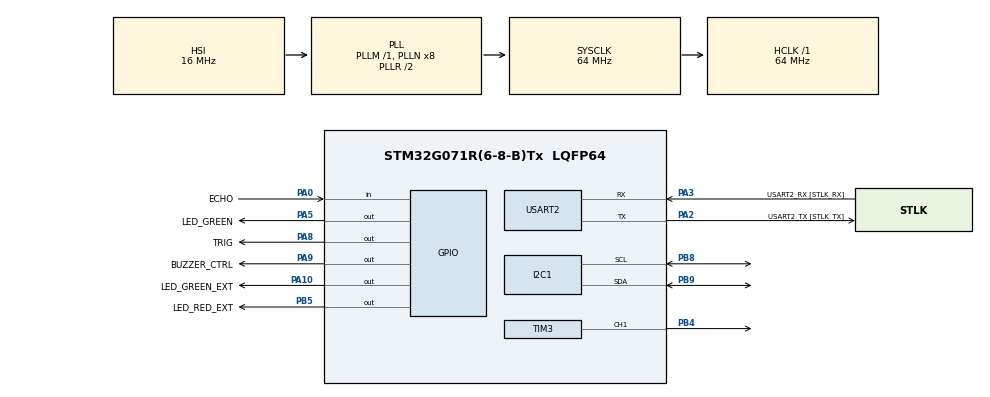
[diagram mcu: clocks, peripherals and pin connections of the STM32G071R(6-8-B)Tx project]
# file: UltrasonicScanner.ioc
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FREERTOS.INCLUDE_uxTaskGetStackHighWaterMark=1
FREERTOS.Queues01=ScanDataQueue,4,ScanMessage_t,0,Dynamic,NULL,NULL;AlertDataQueue,4,ScanMessage_t,0,Dynamic,NULL,NULL
FREERTOS.Tasks01=ScannerTask,24,256,StartScannerTask,Default,NULL,Dynamic,NULL,NULL;DisplayTask,16,256,StartDisplayTask,Default,NULL,Dynamic,NULL,NULL;AlertTask,16,256,StartAlertTask,Default,NULL,Dynamic,NULL,NULL
FREERTOS.configTOTAL_HEAP_SIZE=5120
I2C1.Timing=0x10B17DB5
Mcu.Family=STM32G0
Mcu.Name=STM32G071R(6-8-B)Tx
Mcu.Package=LQFP64
NVIC.TIM6_DAC_LPTIM1_IRQn=true\:3\:0\:false\:false\:true\:false\:false\:true\:true
NVIC.TimeBase=TIM6_DAC_LPTIM1_IRQn
NVIC.TimeBaseIP=TIM6
PA0.GPIO_Label=ECHO
PA0.Signal=GPIO_Input
PA10.GPIO_Label=LED_GREEN_EXT
PA10.Signal=GPIO_Output
PA13.GPIO_Label=TMS
PA13.Mode=Serial_Wire
PA13.Signal=SYS_SWDIO
PA14-BOOT0.GPIO_Label=TCK
PA14-BOOT0.Mode=Serial_Wire
PA14-BOOT0.Signal=SYS_SWCLK
PA2.GPIO_Label=USART2_TX [STLK_TX]
PA2.GPIO_PuPd=GPIO_PULLUP
PA2.Mode=Asynchronous
PA2.Signal=USART2_TX
PA3.GPIO_Label=USART2_RX [STLK_RX]
PA3.GPIO_PuPd=GPIO_PULLUP
PA3.Mode=Asynchronous
PA3.Signal=USART2_RX
PA5.GPIO_Label=LED_GREEN
PA5.GPIO_Speed=GPIO_SPEED_FREQ_HIGH
PA5.Signal=GPIO_Output
PA8.GPIO_Label=TRIG
PA8.Signal=GPIO_Output
PA9.GPIO_Label=BUZZER_CTRL
PA9.Signal=GPIO_Output
PB4.Signal=S_TIM3_CH1
PB5.GPIO_Label=LED_RED_EXT
PB5.Signal=GPIO_Output
PB8.Mode=I2C
PB8.Signal=I2C1_SCL
PB9.Mode=I2C
PB9.Signal=I2C1_SDA
ProjectManager.HeapSize=0x200
ProjectManager.StackSize=0x400
ProjectManager.TargetToolchain=STM32CubeIDE
RCC.ADCFreq_Value=64000000
RCC.AHBFreq_Value=64000000
RCC.CortexFreq_Value=64000000
RCC.EXTERNAL_CLOCK_VALUE=12288000
RCC.HCLKFreq_Value=64000000
RCC.HSE_VALUE=8000000
RCC.HSI_VALUE=16000000
RCC.LSE_VALUE=32768
RCC.SYSCLKFreq_VALUE=64000000
RCC.SYSCLKSource=RCC_SYSCLKSOURCE_PLLCLK
RCC.VCOOutputFreq_Value=128000000
SH.S_TIM3_CH1.0=TIM3_CH1,PWM Generation1 CH1
TIM2.Period=65535
TIM2.Prescaler=63
TIM3.Channel-PWM\ Generation1\ CH1=TIM_CHANNEL_1
TIM3.Period=19999
TIM3.Prescaler=63
USART2.VirtualMode-Asynchronous=VM_ASYNC
VP_FREERTOS_VS_CMSIS_V2.Mode=CMSIS_V2
VP_SYS_VS_tim6.Mode=TIM6
VP_TIM2_VS_ClockSourceINT.Mode=Internal
VP_TIM3_VS_ClockSourceINT.Mode=Internal
board=NUCLEO-G071RB

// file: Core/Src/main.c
/* USER CODE BEGIN Header */
/**
  ******************************************************************************
  * @file           : main.c
  * @brief          : Main program body
  ******************************************************************************
  * @attention
  *
  * Copyright (c) 2026 STMicroelectronics.
  * All rights reserved.
  *
  * This software is licensed under terms that can be found in the LICENSE file
  * in the root directory of this software component.
  * If no LICENSE file comes with this software, it is provided AS-IS.
  *
  ******************************************************************************
  */
/* USER CODE END Header */
#include "main.h"
#include "cmsis_os.h"

/* USER CODE BEGIN Includes */
#include <stdio.h>
#include "lcd_i2c.h"
/* USER CODE END Includes */

/* USER CODE BEGIN PTD */
typedef enum{
    SYSTEM_STATE_STARTUP = 0,
    SYSTEM_STATE_SCANNING,
    SYSTEM_STATE_DETECTED,
    SYSTEM_STATE_ERROR
} SystemState_t;

typedef struct{
	SystemState_t state;
    uint16_t angleDeg;
    uint16_t distanceCm;
    uint8_t measurementValid;
} ScanMessage_t;
/* USER CODE END PTD */

/* USER CODE BEGIN PD */
#define HC_SR04_TIMEOUT_US           30000U

#define OBJECT_DETECT_DISTANCE_CM    25U
#define OBJECT_RELEASE_DISTANCE_CM   30U

#define DETECT_CONFIRM_SAMPLES        2U
#define RELEASE_CONFIRM_SAMPLES       3U

#define BUZZER_TASK_PERIOD_TICKS      10U
#define BUZZER_ON_TIME_TICKS          60U

#define BUZZER_GAP_NEAR_TICKS        100U
#define BUZZER_GAP_MEDIUM_TICKS      300U
#define BUZZER_GAP_FAR_TICKS         700U

#define BUZZER_NEAR_DISTANCE_CM       10U
#define BUZZER_MEDIUM_DISTANCE_CM     17U
/* USER CODE END PD */

I2C_HandleTypeDef hi2c1;

TIM_HandleTypeDef htim2;
TIM_HandleTypeDef htim3;

UART_HandleTypeDef huart2;

/* Definitions for ScannerTask */
osThreadId_t ScannerTaskHandle;
const osThreadAttr_t ScannerTask_attributes = {
  .name = "ScannerTask",
  .priority = (osPriority_t) osPriorityNormal,
  .stack_size = 256 * 4
};
/* Definitions for DisplayTask */
osThreadId_t DisplayTaskHandle;
const osThreadAttr_t DisplayTask_attributes = {
  .name = "DisplayTask",
  .priority = (osPriority_t) osPriorityBelowNormal,
  .stack_size = 256 * 4
};
/* Definitions for AlertTask */
osThreadId_t AlertTaskHandle;
const osThreadAttr_t AlertTask_attributes = {
  .name = "AlertTask",
  .priority = (osPriority_t) osPriorityBelowNormal,
  .stack_size = 256 * 4
};
/* Definitions for ScanDataQueue */
osMessageQueueId_t ScanDataQueueHandle;
const osMessageQueueAttr_t ScanDataQueue_attributes = {
  .name = "ScanDataQueue"
};
/* Definitions for AlertDataQueue */
osMessageQueueId_t AlertDataQueueHandle;
const osMessageQueueAttr_t AlertDataQueue_attributes = {
  .name = "AlertDataQueue"
};
/* USER CODE BEGIN PV */
LCD_I2C_HandleTypeDef lcd;

static int16_t scanAngle = 90;
static int8_t scanDirection = 1;

static SystemState_t systemState = SYSTEM_STATE_SCANNING;

static uint8_t detectConfirmCount = 0U;
static uint8_t releaseConfirmCount = 0U;
/* USER CODE END PV */

void SystemClock_Config(void);
static void MX_GPIO_Init(void);
static void MX_USART2_UART_Init(void);
static void MX_TIM3_Init(void);
static void MX_TIM2_Init(void);
static void MX_I2C1_Init(void);
void StartScannerTask(void *argument);
void StartDisplayTask(void *argument);
void StartAlertTask(void *argument);

/* USER CODE BEGIN 0 */
static void DelayUs(uint16_t delayUs){
    /* Start counting again from zero */
    __HAL_TIM_SET_COUNTER(&htim2, 0U);

    /* TIM2 advances once every microsecond, stay here until the requested time has elapsed */
    while (__HAL_TIM_GET_COUNTER(&htim2) < delayUs){
        /* Busy wait */
    }
}

static uint32_t HC_SR04_ReadEchoPulseUs(void){
    /* Ensure TRIG starts LOW */
    HAL_GPIO_WritePin(TRIG_GPIO_Port, TRIG_Pin, GPIO_PIN_RESET);

    DelayUs(2U);

    /* Send a 10 us trigger pulse */
    HAL_GPIO_WritePin(TRIG_GPIO_Port, TRIG_Pin, GPIO_PIN_SET);

    DelayUs(10U);

    HAL_GPIO_WritePin(TRIG_GPIO_Port, TRIG_Pin, GPIO_PIN_RESET);

    /* Wait for ECHO to rise */
    __HAL_TIM_SET_COUNTER(&htim2, 0U);

    while (HAL_GPIO_ReadPin(ECHO_GPIO_Port, ECHO_Pin) == GPIO_PIN_RESET){
        if (__HAL_TIM_GET_COUNTER(&htim2) >= HC_SR04_TIMEOUT_US){
            return 0U;
        }
    }

    /* ECHO is now HIGH, start measuring its pulse width */
    __HAL_TIM_SET_COUNTER(&htim2, 0U);

    while (HAL_GPIO_ReadPin(ECHO_GPIO_Port, ECHO_Pin) == GPIO_PIN_SET){
        if (__HAL_TIM_GET_COUNTER(&htim2) >= HC_SR04_TIMEOUT_US){
            return 0U;
        }
    }

    /* TIM2 counts once per microsecond */
    return __HAL_TIM_GET_COUNTER(&htim2);
}

static void Servo_SetAngle(uint8_t angle){
    uint32_t pulseUs;

    /* Protect the servo from receiving an angle outside the supported 0-180 degree range */
    if (angle > 180U){
        angle = 180U;
    }

    /*
     * Map:
     *   0 degrees   -> 1000 us
     *   90 degrees  -> 1500 us
     *   180 degrees -> 2000 us
     */
    pulseUs = 1000U + (((uint32_t)angle * 1000U) / 180U);

    __HAL_TIM_SET_COMPARE(&htim3, TIM_CHANNEL_1, pulseUs);
}

static void Scanner_AdvanceAngle(void){
    if (scanDirection > 0){
        if (scanAngle >= 170){
            scanDirection = -1;
            scanAngle--;
        }
        else{
            scanAngle++;
        }
    }
    else{
        if (scanAngle <= 10){
            scanDirection = 1;
            scanAngle++;
        }
        else{
            scanAngle--;
        }
    }
}

static uint32_t Alert_GetBuzzerGapTicks(uint16_t distanceCm){
    if (distanceCm <= BUZZER_NEAR_DISTANCE_CM){
        return BUZZER_GAP_NEAR_TICKS;
    }

    if (distanceCm <= BUZZER_MEDIUM_DISTANCE_CM){
        return BUZZER_GAP_MEDIUM_TICKS;
    }

    return BUZZER_GAP_FAR_TICKS;
}

static void Application_RtosStartupError(void){
    /*
     * Keep the system in a visible and safe state
     * The scheduler has not started yet, so no task can change these outputs
     */
    Servo_SetAngle(90U);

    HAL_GPIO_WritePin(LED_GREEN_EXT_GPIO_Port, LED_GREEN_EXT_Pin, GPIO_PIN_RESET);

    HAL_GPIO_WritePin(LED_RED_EXT_GPIO_Port, LED_RED_EXT_Pin, GPIO_PIN_SET);

    HAL_GPIO_WritePin(BUZZER_CTRL_GPIO_Port, BUZZER_CTRL_Pin, GPIO_PIN_RESET);

    LCD_I2C_Clear(&lcd);

    LCD_I2C_SetCursor(&lcd, 0U, 0U);
    LCD_I2C_Print(&lcd, "SYSTEM ERROR    ");

    LCD_I2C_SetCursor(&lcd, 1U, 0U);
    LCD_I2C_Print(&lcd, "RTOS STARTUP    ");

    /* Stop here instead of starting a partially initialized system */
    for (;;){
        HAL_Delay(1000U);
    }
}
/* USER CODE END 0 */

int main(void)
{

  /* MCU Configuration--------------------------------------------------------*/

  /* Reset of all peripherals, Initializes the Flash interface and the Systick. */
  HAL_Init();

  /* Configure the system clock */
  SystemClock_Config();

  /* Initialize all configured peripherals */
  MX_GPIO_Init();
  MX_USART2_UART_Init();
  MX_TIM3_Init();
  MX_TIM2_Init();
  MX_I2C1_Init();
  /* USER CODE BEGIN 2 */

  Servo_SetAngle(90U);
  HAL_TIM_PWM_Start(&htim3, TIM_CHANNEL_1);

  HAL_TIM_Base_Start(&htim2);

  HAL_Delay(100U);

  LCD_I2C_Init(&lcd, &hi2c1, 0x27U);
  LCD_I2C_Clear(&lcd);

  LCD_I2C_SetCursor(&lcd, 0U, 0U);
  LCD_I2C_Print(&lcd, "SYSTEM STARTING ");

  LCD_I2C_SetCursor(&lcd, 1U, 0U);
  LCD_I2C_Print(&lcd, "PLEASE WAIT...  ");

  HAL_Delay(1000U);

  /* USER CODE END 2 */

  /* Init scheduler */
  osKernelInitialize();

  /* Create the queue(s) */
  /* creation of ScanDataQueue */
  ScanDataQueueHandle = osMessageQueueNew (4, sizeof(ScanMessage_t), &ScanDataQueue_attributes);

  /* creation of AlertDataQueue */
  AlertDataQueueHandle = osMessageQueueNew (4, sizeof(ScanMessage_t), &AlertDataQueue_attributes);

  /* USER CODE BEGIN RTOS_QUEUES */
  if ((ScanDataQueueHandle == NULL) || (AlertDataQueueHandle == NULL)){
      Application_RtosStartupError();
  }
  /* USER CODE END RTOS_QUEUES */

  /* Create the thread(s) */
  /* creation of ScannerTask */
  ScannerTaskHandle = osThreadNew(StartScannerTask, NULL, &ScannerTask_attributes);

  /* creation of DisplayTask */
  DisplayTaskHandle = osThreadNew(StartDisplayTask, NULL, &DisplayTask_attributes);

  /* creation of AlertTask */
  AlertTaskHandle = osThreadNew(StartAlertTask, NULL, &AlertTask_attributes);

  /* USER CODE BEGIN RTOS_THREADS */
  if ((ScannerTaskHandle == NULL) || (DisplayTaskHandle == NULL) || (AlertTaskHandle == NULL)){
      Application_RtosStartupError();
  }
  /* USER CODE END RTOS_THREADS */

  /* Start scheduler */
  osKernelStart();

  /* We should never get here as control is now taken by the scheduler */

  /* Infinite loop */
  while (1)
  {

  }
}

void SystemClock_Config(void)
{
  RCC_OscInitTypeDef RCC_OscInitStruct = {0};
  RCC_ClkInitTypeDef RCC_ClkInitStruct = {0};

  /** Configure the main internal regulator output voltage
  */
  HAL_PWREx_ControlVoltageScaling(PWR_REGULATOR_VOLTAGE_SCALE1);

  /** Initializes the RCC Oscillators according to the specified parameters
  * in the RCC_OscInitTypeDef structure.
  */
  RCC_OscInitStruct.OscillatorType = RCC_OSCILLATORTYPE_HSI;
  RCC_OscInitStruct.HSIState = RCC_HSI_ON;
  RCC_OscInitStruct.HSIDiv = RCC_HSI_DIV1;
  RCC_OscInitStruct.HSICalibrationValue = RCC_HSICALIBRATION_DEFAULT;
  RCC_OscInitStruct.PLL.PLLState = RCC_PLL_ON;
  RCC_OscInitStruct.PLL.PLLSource = RCC_PLLSOURCE_HSI;
  RCC_OscInitStruct.PLL.PLLM = RCC_PLLM_DIV1;
  RCC_OscInitStruct.PLL.PLLN = 8;
  RCC_OscInitStruct.PLL.PLLP = RCC_PLLP_DIV2;
  RCC_OscInitStruct.PLL.PLLQ = RCC_PLLQ_DIV2;
  RCC_OscInitStruct.PLL.PLLR = RCC_PLLR_DIV2;
  if (HAL_RCC_OscConfig(&RCC_OscInitStruct) != HAL_OK)
  {
    Error_Handler();
  }

  /** Initializes the CPU, AHB and APB buses clocks
  */
  RCC_ClkInitStruct.ClockType = RCC_CLOCKTYPE_HCLK|RCC_CLOCKTYPE_SYSCLK
                              |RCC_CLOCKTYPE_PCLK1;
  RCC_ClkInitStruct.SYSCLKSource = RCC_SYSCLKSOURCE_PLLCLK;
  RCC_ClkInitStruct.AHBCLKDivider = RCC_SYSCLK_DIV1;
  RCC_ClkInitStruct.APB1CLKDivider = RCC_HCLK_DIV1;

  if (HAL_RCC_ClockConfig(&RCC_ClkInitStruct, FLASH_LATENCY_2) != HAL_OK)
  {
    Error_Handler();
  }
}

static void MX_I2C1_Init(void)
{

  hi2c1.Instance = I2C1;
  hi2c1.Init.Timing = 0x10B17DB5;
  hi2c1.Init.OwnAddress1 = 0;
  hi2c1.Init.AddressingMode = I2C_ADDRESSINGMODE_7BIT;
  hi2c1.Init.DualAddressMode = I2C_DUALADDRESS_DISABLE;
  hi2c1.Init.OwnAddress2 = 0;
  hi2c1.Init.OwnAddress2Masks = I2C_OA2_NOMASK;
  hi2c1.Init.GeneralCallMode = I2C_GENERALCALL_DISABLE;
  hi2c1.Init.NoStretchMode = I2C_NOSTRETCH_DISABLE;
  if (HAL_I2C_Init(&hi2c1) != HAL_OK)
  {
    Error_Handler();
  }

  /** Configure Analogue filter
  */
  if (HAL_I2CEx_ConfigAnalogFilter(&hi2c1, I2C_ANALOGFILTER_ENABLE) != HAL_OK)
  {
    Error_Handler();
  }

  /** Configure Digital filter
  */
  if (HAL_I2CEx_ConfigDigitalFilter(&hi2c1, 0) != HAL_OK)
  {
    Error_Handler();
  }

}

static void MX_TIM2_Init(void)
{

  TIM_ClockConfigTypeDef sClockSourceConfig = {0};
  TIM_MasterConfigTypeDef sMasterConfig = {0};

  htim2.Instance = TIM2;
  htim2.Init.Prescaler = 63;
  htim2.Init.CounterMode = TIM_COUNTERMODE_UP;
  htim2.Init.Period = 65535;
  htim2.Init.ClockDivision = TIM_CLOCKDIVISION_DIV1;
  htim2.Init.AutoReloadPreload = TIM_AUTORELOAD_PRELOAD_DISABLE;
  if (HAL_TIM_Base_Init(&htim2) != HAL_OK)
  {
    Error_Handler();
  }
  sClockSourceConfig.ClockSource = TIM_CLOCKSOURCE_INTERNAL;
  if (HAL_TIM_ConfigClockSource(&htim2, &sClockSourceConfig) != HAL_OK)
  {
    Error_Handler();
  }
  sMasterConfig.MasterOutputTrigger = TIM_TRGO_RESET;
  sMasterConfig.MasterSlaveMode = TIM_MASTERSLAVEMODE_DISABLE;
  if (HAL_TIMEx_MasterConfigSynchronization(&htim2, &sMasterConfig) != HAL_OK)
  {
    Error_Handler();
  }

}

static void MX_TIM3_Init(void)
{

  TIM_ClockConfigTypeDef sClockSourceConfig = {0};
  TIM_MasterConfigTypeDef sMasterConfig = {0};
  TIM_OC_InitTypeDef sConfigOC = {0};

  htim3.Instance = TIM3;
  htim3.Init.Prescaler = 63;
  htim3.Init.CounterMode = TIM_COUNTERMODE_UP;
  htim3.Init.Period = 19999;
  htim3.Init.ClockDivision = TIM_CLOCKDIVISION_DIV1;
  htim3.Init.AutoReloadPreload = TIM_AUTORELOAD_PRELOAD_DISABLE;
  if (HAL_TIM_Base_Init(&htim3) != HAL_OK)
  {
    Error_Handler();
  }
  sClockSourceConfig.ClockSource = TIM_CLOCKSOURCE_INTERNAL;
  if (HAL_TIM_ConfigClockSource(&htim3, &sClockSourceConfig) != HAL_OK)
  {
    Error_Handler();
  }
  if (HAL_TIM_PWM_Init(&htim3) != HAL_OK)
  {
    Error_Handler();
  }
  sMasterConfig.MasterOutputTrigger = TIM_TRGO_RESET;
  sMasterConfig.MasterSlaveMode = TIM_MASTERSLAVEMODE_DISABLE;
  if (HAL_TIMEx_MasterConfigSynchronization(&htim3, &sMasterConfig) != HAL_OK)
  {
    Error_Handler();
  }
  sConfigOC.OCMode = TIM_OCMODE_PWM1;
  sConfigOC.Pulse = 0;
  sConfigOC.OCPolarity = TIM_OCPOLARITY_HIGH;
  sConfigOC.OCFastMode = TIM_OCFAST_DISABLE;
  if (HAL_TIM_PWM_ConfigChannel(&htim3, &sConfigOC, TIM_CHANNEL_1) != HAL_OK)
  {
    Error_Handler();
  }
  HAL_TIM_MspPostInit(&htim3);

}

static void MX_USART2_UART_Init(void)
{

  huart2.Instance = USART2;
  huart2.Init.BaudRate = 115200;
  huart2.Init.WordLength = UART_WORDLENGTH_8B;
  huart2.Init.StopBits = UART_STOPBITS_1;
  huart2.Init.Parity = UART_PARITY_NONE;
  huart2.Init.Mode = UART_MODE_TX_RX;
  huart2.Init.HwFlowCtl = UART_HWCONTROL_NONE;
  huart2.Init.OverSampling = UART_OVERSAMPLING_16;
  huart2.Init.OneBitSampling = UART_ONE_BIT_SAMPLE_DISABLE;
  huart2.Init.ClockPrescaler = UART_PRESCALER_DIV1;
  huart2.AdvancedInit.AdvFeatureInit = UART_ADVFEATURE_NO_INIT;
  if (HAL_UART_Init(&huart2) != HAL_OK)
  {
    Error_Handler();
  }
  if (HAL_UARTEx_SetTxFifoThreshold(&huart2, UART_TXFIFO_THRESHOLD_1_8) != HAL_OK)
  {
    Error_Handler();
  }
  if (HAL_UARTEx_SetRxFifoThreshold(&huart2, UART_RXFIFO_THRESHOLD_1_8) != HAL_OK)
  {
    Error_Handler();
  }
  if (HAL_UARTEx_DisableFifoMode(&huart2) != HAL_OK)
  {
    Error_Handler();
  }

}

static void MX_GPIO_Init(void)
{
  GPIO_InitTypeDef GPIO_InitStruct = {0};

  /* GPIO Ports Clock Enable */
  __HAL_RCC_GPIOA_CLK_ENABLE();
  __HAL_RCC_GPIOB_CLK_ENABLE();

  /*Configure GPIO pin Output Level */
  HAL_GPIO_WritePin(GPIOA, LED_GREEN_Pin|TRIG_Pin|BUZZER_CTRL_Pin|LED_GREEN_EXT_Pin, GPIO_PIN_RESET);

  /*Configure GPIO pin Output Level */
  HAL_GPIO_WritePin(LED_RED_EXT_GPIO_Port, LED_RED_EXT_Pin, GPIO_PIN_RESET);

  /*Configure GPIO pin : ECHO_Pin */
  GPIO_InitStruct.Pin = ECHO_Pin;
  GPIO_InitStruct.Mode = GPIO_MODE_INPUT;
  GPIO_InitStruct.Pull = GPIO_NOPULL;
  HAL_GPIO_Init(ECHO_GPIO_Port, &GPIO_InitStruct);

  /*Configure GPIO pin : LED_GREEN_Pin */
  GPIO_InitStruct.Pin = LED_GREEN_Pin;
  GPIO_InitStruct.Mode = GPIO_MODE_OUTPUT_PP;
  GPIO_InitStruct.Pull = GPIO_NOPULL;
  GPIO_InitStruct.Speed = GPIO_SPEED_FREQ_HIGH;
  HAL_GPIO_Init(LED_GREEN_GPIO_Port, &GPIO_InitStruct);

  /*Configure GPIO pins : TRIG_Pin BUZZER_CTRL_Pin LED_GREEN_EXT_Pin */
  GPIO_InitStruct.Pin = TRIG_Pin|BUZZER_CTRL_Pin|LED_GREEN_EXT_Pin;
  GPIO_InitStruct.Mode = GPIO_MODE_OUTPUT_PP;
  GPIO_InitStruct.Pull = GPIO_NOPULL;
  GPIO_InitStruct.Speed = GPIO_SPEED_FREQ_LOW;
  HAL_GPIO_Init(GPIOA, &GPIO_InitStruct);

  /*Configure GPIO pin : LED_RED_EXT_Pin */
  GPIO_InitStruct.Pin = LED_RED_EXT_Pin;
  GPIO_InitStruct.Mode = GPIO_MODE_OUTPUT_PP;
  GPIO_InitStruct.Pull = GPIO_NOPULL;
  GPIO_InitStruct.Speed = GPIO_SPEED_FREQ_LOW;
  HAL_GPIO_Init(LED_RED_EXT_GPIO_Port, &GPIO_InitStruct);

}

void StartScannerTask(void *argument)
{
  /* USER CODE BEGIN 5 */
  for (;;){
      ScanMessage_t message;
      uint32_t echoPulseUs;

      /* SCANNING: Move smoothly and measure every three degrees */
      if (systemState == SYSTEM_STATE_SCANNING){
          Servo_SetAngle((uint8_t)scanAngle);
          osDelay(20U);

          /* At angles that are not measurement points, simply continue the sweep */
          if ((scanAngle % 3) != 0){
              Scanner_AdvanceAngle();
              continue;
          }

          echoPulseUs = HC_SR04_ReadEchoPulseUs();

          message.angleDeg = (uint16_t)scanAngle;

          if (echoPulseUs == 0U){
              message.distanceCm = 0U;
              message.measurementValid = 0U;

              /* A timeout cannot confirm an object */
              detectConfirmCount = 0U;
          }
          else{
              message.distanceCm = (uint16_t)(echoPulseUs / 58U);

              message.measurementValid = 1U;

              if (message.distanceCm <= OBJECT_DETECT_DISTANCE_CM){
                  detectConfirmCount++;

                  /* Stay at this angle while waiting for the confirming measurement */
                  if (detectConfirmCount >= DETECT_CONFIRM_SAMPLES){
                      systemState = SYSTEM_STATE_DETECTED;

                      detectConfirmCount = 0U;
                      releaseConfirmCount = 0U;
                  }
              }
              else{
                  detectConfirmCount = 0U;
              }
          }

          message.state = systemState;

          (void)osMessageQueuePut(ScanDataQueueHandle, &message, 0U, 0U);

          (void)osMessageQueuePut(AlertDataQueueHandle, &message, 0U, 0U);

          /* Continue moving only when no possible object is waiting for confirmation */
          if ((systemState == SYSTEM_STATE_SCANNING) && (detectConfirmCount == 0U)){
              Scanner_AdvanceAngle();
          }
      }

      /* DETECTED: Keep commanding the same servo angle and continue measuring the object */
      else if (systemState == SYSTEM_STATE_DETECTED){
          Servo_SetAngle((uint8_t)scanAngle);

          /* Measurements while holding the object do not need to run every 20 ms */
          osDelay(100U);

          echoPulseUs = HC_SR04_ReadEchoPulseUs();

          message.angleDeg = (uint16_t)scanAngle;

          if (echoPulseUs == 0U){
              message.distanceCm = 0U;
              message.measurementValid = 0U;

              /* A timeout may mean that the object is no longer in front of the sensor */
              releaseConfirmCount++;
          }
          else{
              message.distanceCm = (uint16_t)(echoPulseUs / 58U);

              message.measurementValid = 1U;

              if (message.distanceCm >= OBJECT_RELEASE_DISTANCE_CM){
                  releaseConfirmCount++;
              }
              else{
                  releaseConfirmCount = 0U;
              }
          }

          if (releaseConfirmCount >= RELEASE_CONFIRM_SAMPLES){
              systemState = SYSTEM_STATE_SCANNING;

              releaseConfirmCount = 0U;
              detectConfirmCount = 0U;
          }

          message.state = systemState;

          (void)osMessageQueuePut(ScanDataQueueHandle, &message, 0U, 0U);

          (void)osMessageQueuePut(AlertDataQueueHandle, &message, 0U, 0U);
      }

      /* ERROR is not implemented yet */
      else{
          osDelay(100U);
      }
  }

  /* USER CODE END 5 */
}

void StartDisplayTask(void *argument)
{
  /* USER CODE BEGIN StartDisplayTask */

  ScanMessage_t message;

  /* 16 visible characters plus the terminating '\0' */
  char line1[17];
  char line2[17];

  LCD_I2C_Clear(&lcd);

  for (;;){
      /* Sleep until ScannerTask sends a new system snapshot */
      if (osMessageQueueGet(ScanDataQueueHandle, &message, NULL, osWaitForever) == osOK){
          if (message.state == SYSTEM_STATE_SCANNING){
              /* Exactly 16 visible characters */
        	  (void)snprintf(line1, sizeof(line1), "AREA CLEAR      ");
        	  (void)snprintf(line2, sizeof(line2), "ANGLE:%3u deg   ", (unsigned int)message.angleDeg);
          }
          else if (message.state == SYSTEM_STATE_DETECTED){
              (void)snprintf(line1, sizeof(line1), "FOREIGN BODY    ");

              if (message.measurementValid != 0U){
                  (void)snprintf(line2, sizeof(line2), "A:%3u D:%3ucm   ", (unsigned int)message.angleDeg, (unsigned int)message.distanceCm);
              }
              else{
                  (void)snprintf(line2, sizeof(line2), "A:%3u D:---cm   ", (unsigned int)message.angleDeg);
              }
          }
          else{
              (void)snprintf(line1, sizeof(line1), "SYSTEM ERROR    ");

              (void)snprintf(line2, sizeof(line2), "CHECK HARDWARE  ");
          }

          /*
           * Overwrite both complete rows
           * No Clear command is needed on every update, so the display should not flicker
           */
          LCD_I2C_SetCursor(&lcd, 0U, 0U);

          LCD_I2C_Print(&lcd, line1);

          LCD_I2C_SetCursor(&lcd, 1U, 0U);

          LCD_I2C_Print(&lcd, line2);
      }
  }

  /* USER CODE END StartDisplayTask */
}

void StartAlertTask(void *argument)
{
  /* USER CODE BEGIN StartAlertTask */

  ScanMessage_t message;

  SystemState_t currentState = SYSTEM_STATE_STARTUP;

  uint16_t currentDistanceCm = 0U;
  uint8_t currentMeasurementValid = 0U;

  uint8_t buzzerIsOn = 0U;
  uint32_t nextBuzzerChangeTick = 0U;

  /*
   * Begin with every alert output disabled.
   */
  HAL_GPIO_WritePin(
      LED_GREEN_EXT_GPIO_Port,
      LED_GREEN_EXT_Pin,
      GPIO_PIN_RESET
  );

  HAL_GPIO_WritePin(
      LED_RED_EXT_GPIO_Port,
      LED_RED_EXT_Pin,
      GPIO_PIN_RESET
  );

  HAL_GPIO_WritePin(
      BUZZER_CTRL_GPIO_Port,
      BUZZER_CTRL_Pin,
      GPIO_PIN_RESET
  );

  for (;;)
  {
      osStatus_t queueStatus;
      uint32_t currentTick;

      /*
       * Wait for a message, but only for 10 ticks.
       *
       * The finite timeout allows this task to wake up periodically
       * and update the buzzer pattern even when no new queue message arrives.
       */
      queueStatus = osMessageQueueGet(AlertDataQueueHandle, &message, NULL, BUZZER_TASK_PERIOD_TICKS);

      currentTick = osKernelGetTickCount();

      if (queueStatus == osOK){
          uint8_t enteredDetectedState;

          enteredDetectedState = ((currentState != SYSTEM_STATE_DETECTED) && (message.state == SYSTEM_STATE_DETECTED)) ? 1U : 0U;

          currentState = message.state;
          currentDistanceCm = message.distanceCm;
          currentMeasurementValid = message.measurementValid;

          if (currentState == SYSTEM_STATE_SCANNING){
              HAL_GPIO_WritePin(LED_GREEN_EXT_GPIO_Port, LED_GREEN_EXT_Pin, GPIO_PIN_SET);

              HAL_GPIO_WritePin(LED_RED_EXT_GPIO_Port, LED_RED_EXT_Pin, GPIO_PIN_RESET);
          }
          else if (currentState == SYSTEM_STATE_DETECTED){
              HAL_GPIO_WritePin(LED_GREEN_EXT_GPIO_Port, LED_GREEN_EXT_Pin, GPIO_PIN_RESET);

              HAL_GPIO_WritePin(LED_RED_EXT_GPIO_Port, LED_RED_EXT_Pin, GPIO_PIN_SET);
          }
          else{
              HAL_GPIO_WritePin(LED_GREEN_EXT_GPIO_Port, LED_GREEN_EXT_Pin, GPIO_PIN_RESET);

              HAL_GPIO_WritePin(LED_RED_EXT_GPIO_Port, LED_RED_EXT_Pin, GPIO_PIN_RESET);
          }

          /*
           * The buzzer is allowed to operate only when:
           * 1. The system is in DETECTED
           * 2. The latest measurement is valid
           */
          if ((currentState != SYSTEM_STATE_DETECTED) || (currentMeasurementValid == 0U)){
              HAL_GPIO_WritePin(BUZZER_CTRL_GPIO_Port, BUZZER_CTRL_Pin, GPIO_PIN_RESET);

              buzzerIsOn = 0U;
              nextBuzzerChangeTick = currentTick;
          }
          else if (enteredDetectedState != 0U){
              /* Schedule the first beep immediately after entering DETECTED */
              nextBuzzerChangeTick = currentTick;
          }
      }

      /* Generate the buzzer pattern independently of the rate at which messages arrive */
      if ((currentState == SYSTEM_STATE_DETECTED) && (currentMeasurementValid != 0U)){
          /*
           * Casting the subtraction to int32_t makes the comparison safe
           * even when the RTOS tick counter eventually wraps around
           */
          if ((int32_t)(currentTick - nextBuzzerChangeTick) >= 0){
              if (buzzerIsOn != 0U){
                  uint32_t gapTicks;

                  HAL_GPIO_WritePin(BUZZER_CTRL_GPIO_Port, BUZZER_CTRL_Pin, GPIO_PIN_RESET);

                  buzzerIsOn = 0U;

                  gapTicks = Alert_GetBuzzerGapTicks(currentDistanceCm);

                  nextBuzzerChangeTick = currentTick + gapTicks;
              }
              else{
                  HAL_GPIO_WritePin(BUZZER_CTRL_GPIO_Port, BUZZER_CTRL_Pin, GPIO_PIN_SET);

                  buzzerIsOn = 1U;

                  nextBuzzerChangeTick = currentTick + BUZZER_ON_TIME_TICKS;
              }
          }
      }
  }

  /* USER CODE END StartAlertTask */
}

void HAL_TIM_PeriodElapsedCallback(TIM_HandleTypeDef *htim)
{
  if (htim->Instance == TIM6)
  {
    HAL_IncTick();
  }
}

void Error_Handler(void)
{
  __disable_irq();
  while (1)
  {
  }
}
